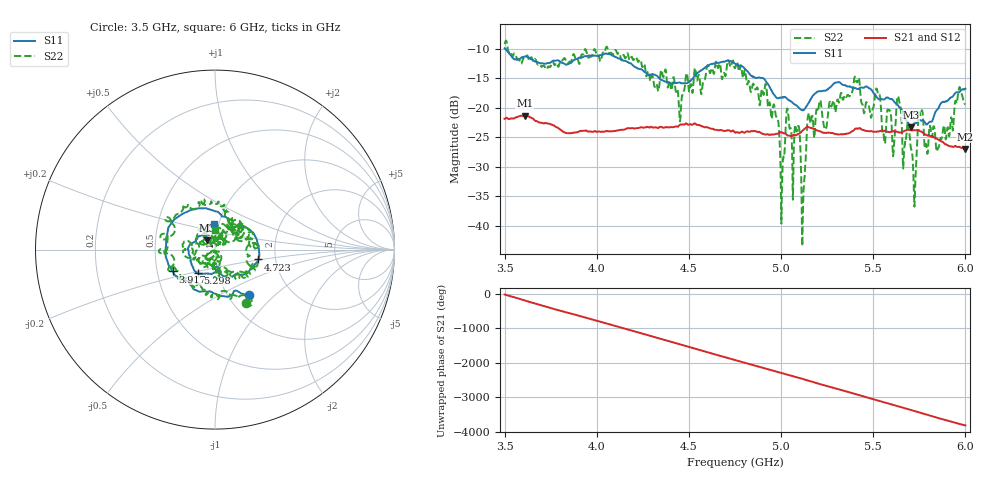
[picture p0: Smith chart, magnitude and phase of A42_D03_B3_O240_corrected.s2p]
! Created with skrf 1.9.0 (http://scikit-rf.org).
# Hz S RI R 50.0
!freq ReS11 ImS11 ReS21 ImS21 ReS12 ImS12 ReS22 ImS22
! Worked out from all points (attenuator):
!   1601 points, 3.5 GHz to 6 GHz, reference 50 ohm
!   highest |S21| = -21.37 dB at 3.609 GHz (marker M1); lowest = -27.0 dB at 5.998 GHz (marker M2)
!   lowest |S11| = -23.4 dB at 5.703 GHz (marker M3), VSWR 1.15, Z = 45.6 + j4.75 ohm
!   |S11| at or under -10 dB: 3.502 GHz to end of sweep
!   |S22| runs from -43.5 to -8.6 dB; largest |S21 - S12| = 0.001
!   S11 on the Smith chart (normalised r, x): 3.5 GHz: 1.25, -0.71; 3.917 GHz: 0.60, -0.16; 4.723 GHz: 1.62, -0.19; 5.298 GHz: 0.80, -0.22; 6 GHz: 0.95, +0.28
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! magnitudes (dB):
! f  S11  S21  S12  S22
! 3.5 GHz  -10.0  -21.9  -21.9  -9.2
! 3.609 GHz  -11.3  -21.4  -21.4  -11.8
! 3.917 GHz  -11.5  -24.0  -23.9  -11.0
! 4.334 GHz  -14.9  -23.5  -23.4  -17.2
! 4.723 GHz  -12.1  -24.0  -23.9  -13.0
! 4.75 GHz  -12.6  -24.2  -24.2  -13.3
! 4.969 GHz  -18.1  -24.5  -24.5  -20.9
! 5.006 GHz  -18.3  -24.2  -24.2  -31.7
! 5.034 GHz  -18.6  -24.7  -24.6  -20.2
! 5.088 GHz  -19.7  -24.6  -24.6  -23.8
! 5.12 GHz  -20.4  -23.8  -23.7  -35.6
! 5.145 GHz  -19.4  -23.3  -23.3  -21.6
! 5.167 GHz  -18.2  -23.5  -23.4  -21.5
! 5.298 GHz  -15.8  -24.5  -24.5  -20.2
! 5.409 GHz  -16.8  -23.6  -23.5  -15.7
! 5.584 GHz  -18.4  -24.1  -24.1  -20.4
! 5.703 GHz  -23.4  -23.9  -23.8  -26.6
! 5.723 GHz  -22.7  -23.8  -23.8  -36.8
! 5.756 GHz  -22.2  -24.0  -24.0  -21.3
! 5.852 GHz  -20.2  -25.4  -25.3  -26.9
! 5.998 GHz  -16.9  -27.0  -26.9  -19.4
! 6 GHz  -16.8  -27.0  -26.9  -19.4
